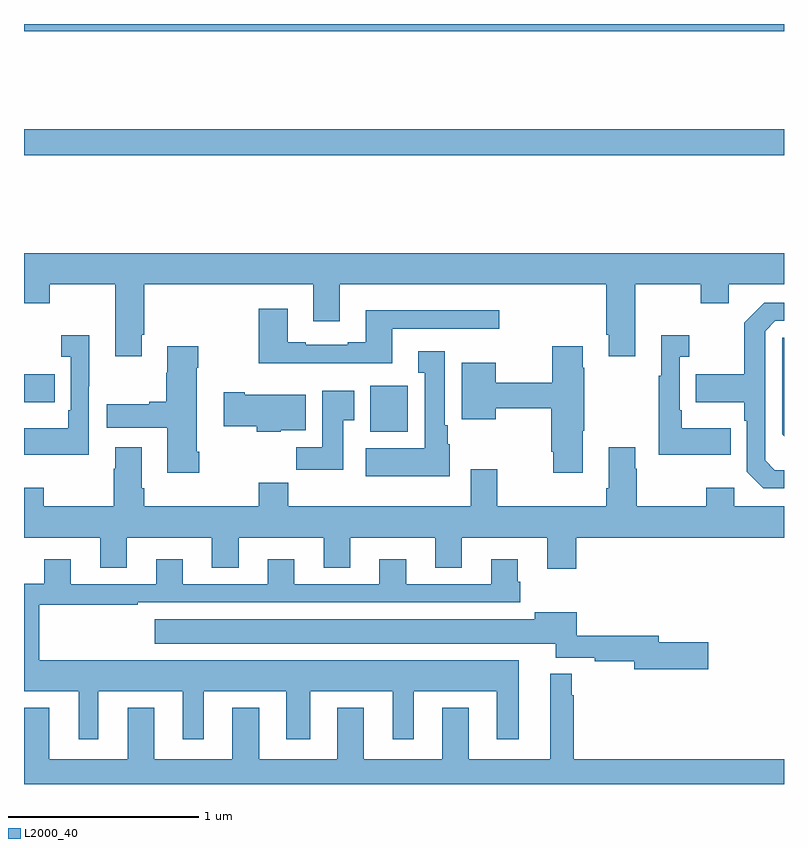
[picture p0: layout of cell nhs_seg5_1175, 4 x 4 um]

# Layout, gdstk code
import gdstk
lib = gdstk.Library(unit=1e-6, precision=1e-09)
def R(c, l, rs):  # rectangles x0, y0, x1, y1
    for r in rs: c.add(gdstk.rectangle(r[:2], r[2:], *l))
def P(c, l, *ps):  # polygons
    for p in ps: c.add(gdstk.Polygon(p, *l))
L2000_40 = (2000, 40)

nhs_seg5_1175 = lib.new_cell('nhs_seg5_1175')
R(nhs_seg5_1175, L2000_40, [(184.823,854.654,185.02,854.896), (183,854.807,183.161,854.955), (183,856.108,187,856.244), (183,856.76,187,856.799)])
P(nhs_seg5_1175, L2000_40, [(183.619,855.163),(183.632,855.163),(183.632,855.428),(184.523,855.428),(184.523,855.234),(184.663,855.234),(184.663,855.428),(186.065,855.428),(186.065,855.163),(186.077,855.163),(186.077,855.051),(186.217,855.051),(186.217,855.428),(186.562,855.428),(186.562,855.329),(186.709,855.329),(186.709,855.428),(187,855.428),(187,855.592),(183,855.592),(183,855.329),(183.135,855.329),(183.135,855.428),(183.479,855.428),(183.479,855.051),(183.619,855.051)],
  [(187,854.451),(186.951,854.451),(186.9,854.502),(186.9,855.183),(186.954,855.237),(187,855.237),(187,855.333),(186.897,855.333),(186.792,855.227),(186.792,854.955),(186.535,854.955),(186.535,854.807),(186.792,854.807),(186.792,854.711),(186.804,854.711),(186.804,854.442),(186.891,854.355),(187,854.355)],
  [(184.939,855.195),(185.5,855.195),(185.5,855.292),(184.799,855.292),(184.799,855.124),(184.703,855.124),(184.703,855.111),(184.483,855.111),(184.483,855.124),(184.387,855.124),(184.387,855.301),(184.235,855.301),(184.235,855.014),(184.939,855.014)],
  [(186.719,854.671),(186.463,854.671),(186.463,854.767),(186.45,854.767),(186.45,855.047),(186.502,855.047),(186.502,855.16),(186.353,855.16),(186.353,854.947),(186.342,854.947),(186.342,854.531),(186.719,854.531)],
  [(183.342,854.893),(183.343,854.893),(183.343,855.16),(183.195,855.16),(183.195,855.047),(183.246,855.047),(183.246,854.767),(183.234,854.767),(183.234,854.671),(183,854.671),(183,854.531),(183.342,854.531)],
  [(187,855.147),(186.99,855.147),(186.99,854.64),(187,854.63)],
  [(183.923,854.548),(183.91,854.548),(183.91,854.99),(183.918,854.99),(183.918,855.103),(183.755,855.103),(183.755,854.963),(183.748,854.963),(183.748,854.81),(183.659,854.81),(183.659,854.797),(183.435,854.797),(183.435,854.675),(183.755,854.675),(183.755,854.436),(183.923,854.436)],
  [(185.941,854.659),(185.949,854.659),(185.949,854.99),(185.941,854.99),(185.941,855.103),(185.779,855.103),(185.779,854.912),(185.482,854.912),(185.482,855.016),(185.303,855.016),(185.303,854.72),(185.482,854.72),(185.482,854.776),(185.774,854.776),(185.774,854.548),(185.786,854.548),(185.786,854.436),(185.941,854.436)],
  [(185.242,854.586),(185.23,854.586),(185.23,854.686),(185.215,854.686),(185.215,855.076),(185.075,855.076),(185.075,854.963),(185.108,854.963),(185.108,854.566),(184.799,854.566),(184.799,854.42),(185.242,854.42)],
  [(184.681,854.713),(184.738,854.713),(184.738,854.869),(184.571,854.869),(184.571,854.572),(184.432,854.572),(184.432,854.454),(184.681,854.454)],
  [(184.35,854.66),(184.483,854.66),(184.483,854.848),(184.162,854.848),(184.162,854.861),(184.05,854.861),(184.05,854.683),(184.225,854.683),(184.225,854.654),(184.35,854.654)],
  [(185.906,854.096),(187,854.096),(187,854.26),(186.738,854.26),(186.738,854.359),(186.592,854.359),(186.592,854.26),(186.225,854.26),(186.225,854.459),(186.217,854.459),(186.217,854.572),(186.077,854.572),(186.077,854.356),(186.065,854.356),(186.065,854.26),(185.491,854.26),(185.491,854.455),(185.351,854.455),(185.351,854.26),(184.391,854.26),(184.391,854.384),(184.235,854.384),(184.235,854.26),(183.632,854.26),(183.632,854.356),(183.619,854.356),(183.619,854.572),(183.479,854.572),(183.479,854.459),(183.472,854.459),(183.472,854.26),(183.105,854.26),(183.105,854.359),(183,854.359),(183,854.096),(183.401,854.096),(183.401,853.936),(183.541,853.936),(183.541,854.096),(183.989,854.096),(183.989,853.936),(184.129,853.936),(184.129,854.096),(184.577,854.096),(184.577,853.936),(184.717,853.936),(184.717,854.096),(185.165,854.096),(185.165,853.936),(185.305,853.936),(185.305,854.096),(185.753,854.096),(185.753,853.932),(185.906,853.932)],
  [(183.391,853.286),(183.836,853.286),(183.836,853.035),(183.946,853.035),(183.946,853.286),(184.379,853.286),(184.379,853.035),(184.507,853.035),(184.507,853.286),(184.94,853.286),(184.94,853.035),(185.05,853.035),(185.05,853.286),(185.489,853.286),(185.489,853.035),(185.605,853.035),(185.605,853.45),(183.079,853.45),(183.079,853.743),(183.599,853.743),(183.599,853.755),(185.612,853.755),(185.612,853.863),(185.599,853.863),(185.599,853.981),(185.459,853.981),(185.459,853.851),(185.011,853.851),(185.011,853.981),(184.871,853.981),(184.871,853.851),(184.423,853.851),(184.423,853.981),(184.283,853.981),(184.283,853.851),(183.835,853.851),(183.835,853.981),(183.695,853.981),(183.695,853.851),(183.247,853.851),(183.247,853.981),(183.107,853.981),(183.107,853.852),(183,853.852),(183,853.286),(183.287,853.286),(183.287,853.035),(183.391,853.035)],
  [(186.601,853.544),(186.34,853.544),(186.34,853.58),(185.908,853.58),(185.908,853.702),(185.687,853.702),(185.687,853.666),(183.687,853.666),(183.687,853.538),(185.798,853.538),(185.798,853.464),(186.004,853.464),(186.004,853.444),(186.212,853.444),(186.212,853.402),(186.601,853.402)],
  [(187,852.928),(185.893,852.928),(185.893,853.265),(185.882,853.265),(185.882,853.378),(185.771,853.378),(185.771,852.928),(185.341,852.928),(185.341,853.201),(185.201,853.201),(185.201,852.928),(184.789,852.928),(184.789,853.201),(184.649,853.201),(184.649,852.928),(184.237,852.928),(184.237,853.201),(184.097,853.201),(184.097,852.928),(183.685,852.928),(183.685,853.201),(183.545,853.201),(183.545,852.928),(183.133,852.928),(183.133,853.201),(183,853.201),(183,852.799),(187,852.799)])

lib.write_gds('nhs_seg5_1175.gds')
